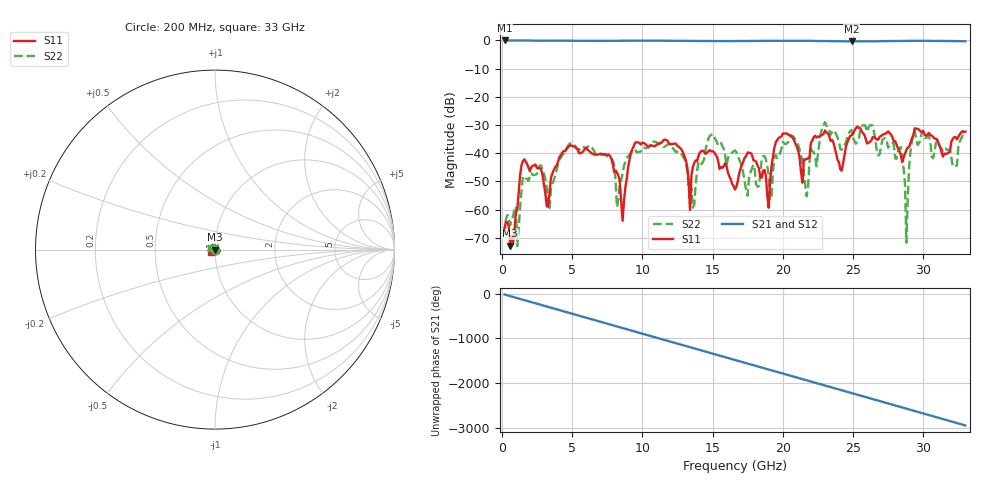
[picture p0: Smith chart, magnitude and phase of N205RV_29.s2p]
# GHZ S RI R 50
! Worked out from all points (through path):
!   329 points, 200 MHz to 33 GHz, reference 50 ohm
!   highest |S21| = -0.01 dB at 200 MHz (marker M1); lowest = -0.3 dB at 24.9 GHz (marker M2)
!   group delay of S21, straight-line fit = 248 ps
!   lowest |S11| = -72.9 dB at 600 MHz (marker M3), VSWR 1.00, Z = 50 - j0.00281 ohm
!   |S11| at or under -10 dB: start of sweep to end of sweep
!   |S22| runs from -73.0 to -29.0 dB; largest |S21 - S12| = 0.0019
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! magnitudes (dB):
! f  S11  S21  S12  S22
! 200 MHz  -66.4  0.0  0.0  -68.9
! 600 MHz  -72.9  0.0  0.0  -65.5
! 1.1 GHz  -60.0  0.0  0.0  -73.0
! 1.6 GHz  -42.2  0.0  0.0  -48.3
! 3.3 GHz  -59.0  -0.1  -0.1  -57.1
! 5.7 GHz  -39.8  -0.1  -0.1  -37.8
! 7.7 GHz  -40.9  -0.1  -0.1  -41.4
! 8.6 GHz  -64.0  -0.1  -0.1  -47.1
! 9.5 GHz  -36.2  -0.1  -0.1  -38.7
! 11.2 GHz  -36.5  -0.1  -0.1  -36.5
! 13.4 GHz  -60.2  -0.2  -0.2  -58.2
! 13.6 GHz  -45.0  -0.2  -0.2  -59.4
! 14.8 GHz  -38.9  -0.2  -0.2  -33.9
! 16.6 GHz  -52.9  -0.2  -0.2  -39.0
! 19.1 GHz  -49.8  -0.1  -0.1  -56.5
! 22.1 GHz  -35.5  -0.2  -0.2  -39.3
! 24.9 GHz  -33.6  -0.3  -0.3  -31.8
! 27.6 GHz  -32.9  -0.2  -0.2  -37.0
! 28.5 GHz  -43.2  -0.2  -0.2  -40.3
! 28.8 GHz  -38.9  -0.2  -0.2  -71.7
! 29.4 GHz  -31.2  -0.1  -0.1  -32.0
! 33 GHz  -32.4  -0.3  -0.3  -32.7
